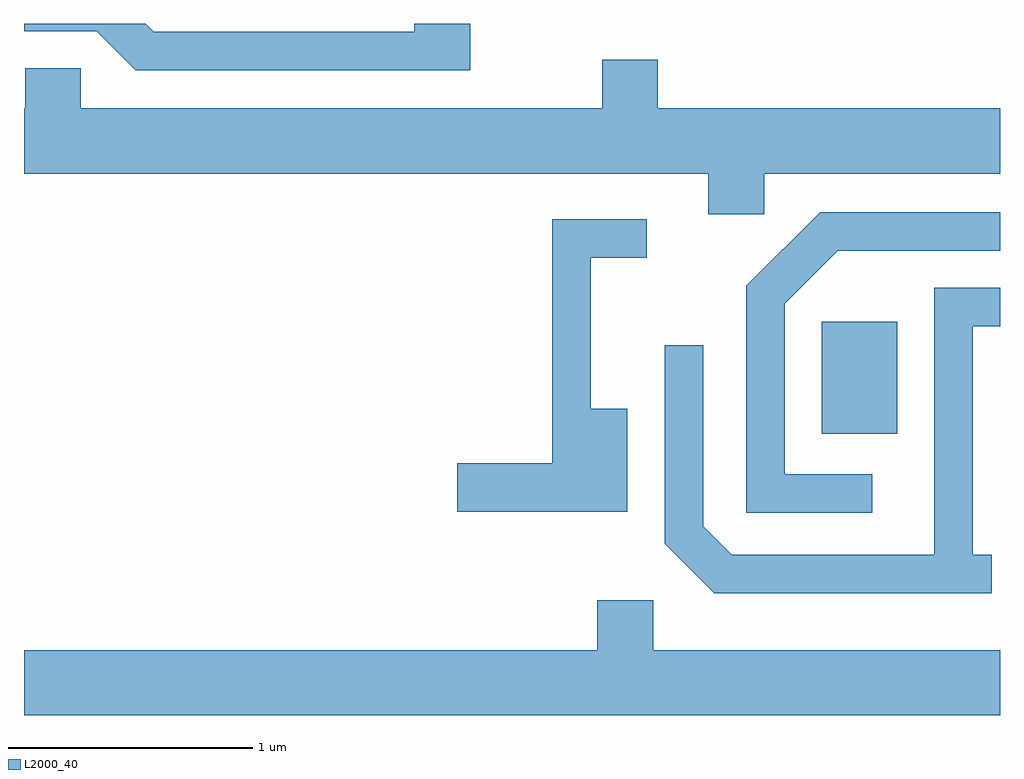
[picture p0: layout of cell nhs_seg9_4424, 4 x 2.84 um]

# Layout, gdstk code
import gdstk
lib = gdstk.Library(unit=1e-6, precision=1e-09)
def R(c, l, rs):  # rectangles x0, y0, x1, y1
    for r in rs: c.add(gdstk.rectangle(r[:2], r[2:], *l))
def P(c, l, *ps):  # polygons
    for p in ps: c.add(gdstk.Polygon(p, *l))
L2000_40 = (2000, 40)

nhs_seg9_4424 = lib.new_cell('nhs_seg9_4424')
R(nhs_seg9_4424, L2000_40, [(318.881,1990.751,319.189,1991.209)])
P(nhs_seg9_4424, L2000_40, [(317.439,1992.432),(317.211,1992.432),(317.211,1992.399),(316.142,1992.399),(316.109,1992.432),(315.611,1992.432),(315.611,1992.401),(315.909,1992.401),(316.069,1992.241),(317.439,1992.241)],
  [(318.644,1991.816),(319.611,1991.816),(319.611,1992.084),(318.209,1992.084),(318.209,1992.284),(317.981,1992.284),(317.981,1992.084),(315.844,1992.084),(315.844,1992.249),(315.616,1992.249),(315.616,1992.084),(315.611,1992.084),(315.611,1991.816),(318.416,1991.816),(318.416,1991.651),(318.644,1991.651)],
  [(319.088,1990.584),(318.729,1990.584),(318.729,1991.284),(318.947,1991.501),(319.611,1991.501),(319.611,1991.659),(318.874,1991.659),(318.571,1991.357),(318.571,1990.426),(319.088,1990.426)],
  [(318.084,1990.854),(317.934,1990.854),(317.934,1991.471),(318.163,1991.471),(318.163,1991.629),(317.776,1991.629),(317.776,1990.629),(317.386,1990.629),(317.386,1990.431),(318.084,1990.431)],
  [(319.578,1990.254),(319.499,1990.254),(319.499,1991.191),(319.611,1991.191),(319.611,1991.349),(319.341,1991.349),(319.341,1990.254),(318.512,1990.254),(318.394,1990.372),(318.394,1991.113),(318.236,1991.113),(318.236,1990.299),(318.439,1990.096),(319.578,1990.096)],
  [(319.611,1989.864),(318.189,1989.864),(318.189,1990.069),(317.961,1990.069),(317.961,1989.864),(315.611,1989.864),(315.611,1989.596),(319.611,1989.596)])

lib.write_gds('nhs_seg9_4424.gds')
